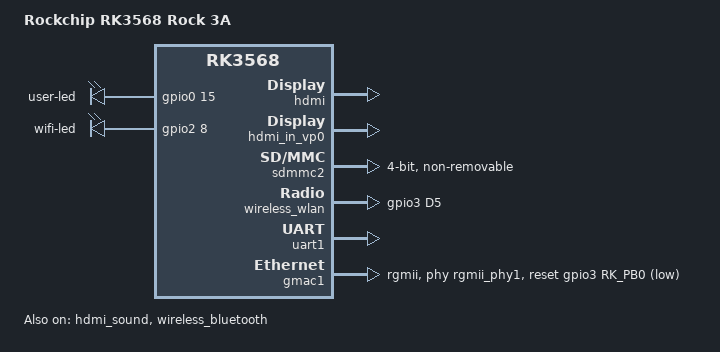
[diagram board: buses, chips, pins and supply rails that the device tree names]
// SPDX-License-Identifier: (GPL-2.0+ OR MIT)
/*
 * Copyright (c) 2020 Rockchip Electronics Co., Ltd.
 *
 */

#include "rk3568-evb1-ddr4-v10.dtsi"
#include "rk3568-android.dtsi"

/ {
	model = "Rockchip RK3568 Rock 3A";

	gpio-leds {
		compatible = "gpio-leds";
		status = "okay";

		user-led {
			gpios = <&gpio0 15 GPIO_ACTIVE_HIGH>;	//GPIO0_B7
			linux,default-trigger = "heartbeat";
			default-state = "on";
			pinctrl-0 = <&user_led>;
		};

		wifi-led {
			gpios = <&gpio2 8 GPIO_ACTIVE_HIGH>;	//GPIO2_B0
			linux,default-trigger = "rfkill2";
			default-state = "on";
			pinctrl-0 = <&wifi_led>;
		};
	};
};

// enable hdmi, connect to vp0
&hdmi {
       status = "okay";
};

&hdmi_in_vp0 {
       status = "okay";
};

&hdmi_in_vp1 {
       status = "disabled";
};

&hdmi_sound {
       status = "okay";
};

// disable edp
&edp {
       status = "disabled";
};

&edp_phy {
       status = "disabled";
};

&edp_in_vp0 {
       status = "disabled";
};

&edp_in_vp1 {
       status = "disabled";
};

// disable dsi0
&dsi0 {
        status = "disabled";
};

&dsi0_in_vp0 {
        status = "disabled";
};

&dsi0_in_vp1 {
        status = "disabled";
};

// disable dsi1
&dsi1 {
        status = "disabled";
};

&dsi1_in_vp0 {
        status = "disabled";
};

&dsi1_in_vp1 {
        status = "disabled";
};


&pinctrl {
	sdio-pwrseq {
		wifi_enable_h: wifi-enable-h {
			rockchip,pins = <3 RK_PD4 RK_FUNC_GPIO &pcfg_pull_none>;
		};
	};

	wireless-wlan {
		wifi_host_wake_irq: wifi-host-wake-irq {
			rockchip,pins = <3 RK_PD5 RK_FUNC_GPIO &pcfg_pull_down>;
		};
	};

	wireless-bluetooth {
		uart1_gpios: uart1-gpios {
			rockchip,pins = <2 RK_PB5 RK_FUNC_GPIO &pcfg_pull_none>;
		};
/*
		bt_reset_gpio: bt-reset-gpio {
			rockchip,pins = <4 RK_PB2 RK_FUNC_GPIO &pcfg_pull_none>;
		};

		bt_wake_gpio: bt-wake-gpio {
			rockchip,pins = <4 RK_PB5 RK_FUNC_GPIO &pcfg_pull_none>;
		};

		bt_irq_gpio: bt-irq-gpio {
			rockchip,pins = <4 RK_PB4 RK_FUNC_GPIO &pcfg_pull_down>;
		};
*/
	};

	headphone {
		hp_det: hp-det {
			rockchip,pins = <2 RK_PD2 RK_FUNC_GPIO &pcfg_pull_down>;
		};
	};

	leds {
		user_led: user-led {
			rockchip,pins = <0 RK_PB7 RK_FUNC_GPIO &pcfg_pull_none>;
		};

		wifi_led: wifi-led {
			rockchip,pins = <2 RK_PB0 RK_FUNC_GPIO &pcfg_pull_none>;
		};
	};
};

// wifi
&sdmmc2 {
	//max-frequency = <150000000>;
	max-frequency = <100000000>;
	supports-sdio;
	bus-width = <4>;
	disable-wp;
	cap-sd-highspeed;
	cap-sdio-irq;
	keep-power-in-suspend;
	mmc-pwrseq = <&sdio_pwrseq>;
	non-removable;
	pinctrl-names = "default";
	pinctrl-0 = <&sdmmc2m0_bus4 &sdmmc2m0_cmd &sdmmc2m0_clk>;
	sd-uhs-sdr104;
	status = "okay";
};

&sdio_pwrseq{
    compatible = "mmc-pwrseq-simple";
    clocks = <&rk809 1>;
    clock-names = "ext_clock";
    pinctrl-names = "default";
    pinctrl-0 = <&wifi_enable_h>;

    /*
        * On the module itself this is one of these (depending
        * on the actual card populated):
        * - SDIO_RESET_L_WL_REG_ON
        * - PDN (power down when low)
        */
    reset-gpios = <&gpio3 RK_PD4 GPIO_ACTIVE_LOW>;		//WIFI_REG_ON_H
};

&wireless_wlan {
    compatible = "wlan-platdata";
    clocks = <&rk809 1>;
    clock-names = "clk_wifi";
    rockchip,grf = <&grf>;
    wifi_chip_type = "ap6256";
    pinctrl-names = "default";
    pinctrl-0 = <&wifi_host_wake_irq>;
    WIFI,host_wake_irq = <&gpio3 RK_PD5 GPIO_ACTIVE_HIGH>;		//WIFI_WAKE_HOST_H
    status = "okay";
};

// bt
&wireless_bluetooth {
    compatible = "bluetooth-platdata";
    clocks = <&rk809 1>;
    clock-names = "ext_clock";
    //wifi-bt-power-toggle;
    uart_rts_gpios = <&gpio2 RK_PB5 GPIO_ACTIVE_LOW>;
    pinctrl-names = "default", "rts_gpio";
    pinctrl-0 = <&uart1m0_rtsn>;
    // pinctrl-0 = <&uart1m0_rtsn>, <&bt_reset_gpio>, <&bt_wake_gpio>, <&bt_irq_gpio>;
    pinctrl-1 = <&uart1_gpios>;
    BT,reset_gpio    = <&gpio4 RK_PB2 GPIO_ACTIVE_HIGH>;	//BT_REG_ON_H
    BT,wake_gpio     = <&gpio4 RK_PB5 GPIO_ACTIVE_HIGH>;	//HOST_WAKE_BT_H
    BT,wake_host_irq = <&gpio4 RK_PB4 GPIO_ACTIVE_HIGH>;	//BT_WAKE_HOST_H
    status = "okay";
};

&i2c4 {
	pinctrl-0 = <&i2c4m1_xfer>;
        status = "disabled";
};

&uart1 {
	status = "okay";
	pinctrl-names = "default";
	pinctrl-0 = <&uart1m0_xfer &uart1m0_ctsn>;
};

&uart8 {
	status = "disabled";
};

// wired network
// disable gmac0
&gmac0 {
	status = "disabled";
};

// override gmac1
&gmac1 {
	phy-mode = "rgmii";
	clock_in_out = "output";

	snps,reset-gpio = <&gpio3 RK_PB0 GPIO_ACTIVE_LOW>;      //GMAC1_RSTn_GPIO3_B0
	snps,reset-active-low;
	/* Reset time is 20ms, 100ms for rtl8211f */
	snps,reset-delays-us = <0 20000 100000>;

	assigned-clocks = <&cru SCLK_GMAC1_RX_TX>, <&cru SCLK_GMAC1>;
	assigned-clock-parents = <&cru SCLK_GMAC1_RGMII_SPEED>;
	assigned-clock-rates = <0>, <125000000>;

	pinctrl-names = "default";
	pinctrl-0 = <&gmac1m1_miim
		&gmac1m1_tx_bus2
		&gmac1m1_rx_bus2
		&gmac1m1_rgmii_clk
		&gmac1m1_rgmii_bus>;

	tx_delay = <0x4f>;
	rx_delay = <0x26>;

	phy-handle = <&rgmii_phy1>;
	status = "okay";
};

